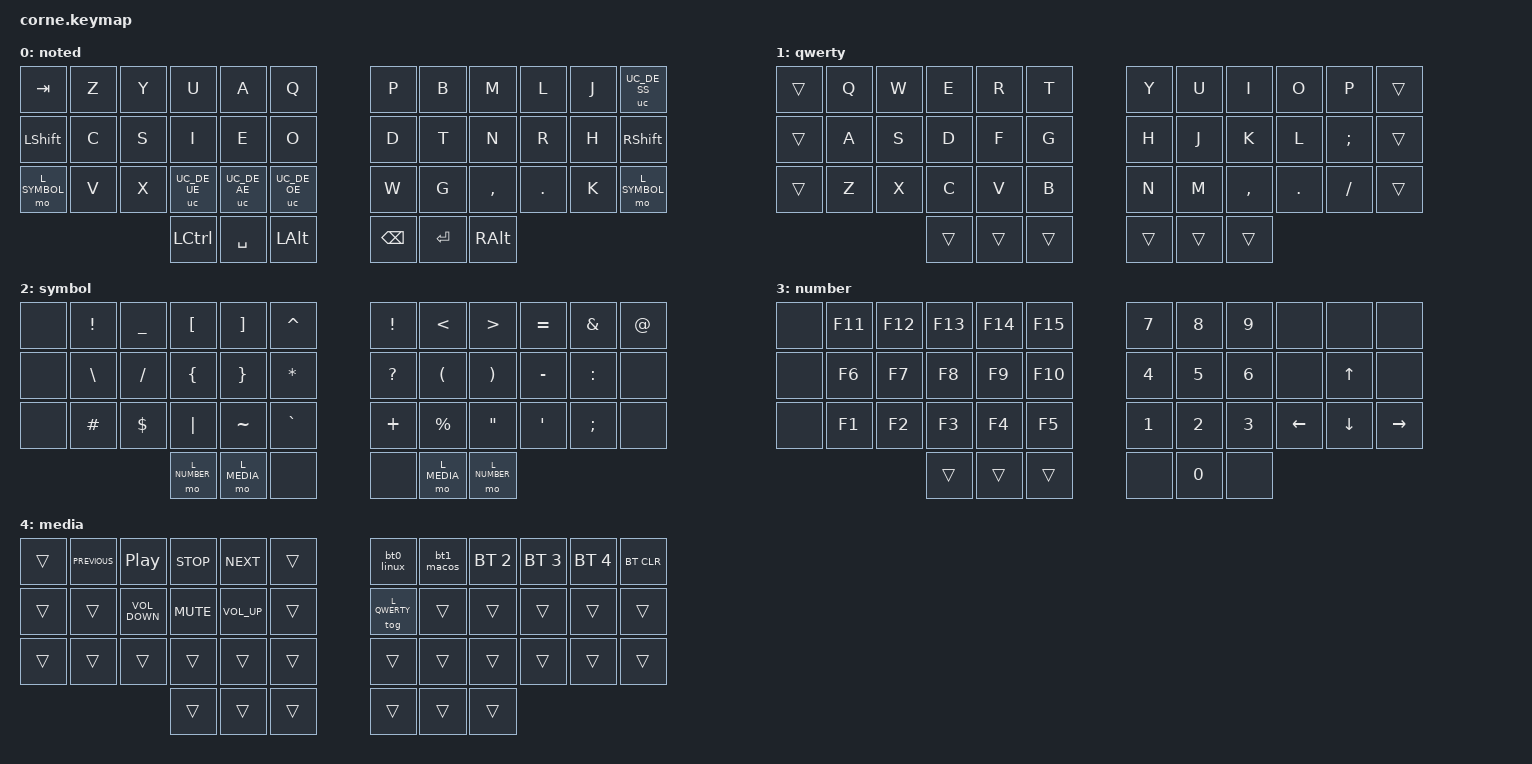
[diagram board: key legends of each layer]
/*
 * Copyright (c) 2020 The ZMK Contributors
 *
 * SPDX-License-Identifier: MIT
 */

#include <behaviors/unicode.dtsi>
#include <zmk-unicode/keys-extra.h>
#include <behaviors.dtsi>
#include <dt-bindings/zmk/bt.h>
#include <dt-bindings/zmk/keys.h>

#define L_NOTED  0
#define L_QWERTY 1
#define L_SYMBOL 2
#define L_NUMBER 3
#define L_MEDIA  4

/ {

    macros {
        bt0_linux: bt0_linux {
            compatible = "zmk,behavior-macro";
            label = "BT0_LINUX";
            #binding-cells = <0>;
            bindings = <
                &bt BT_SEL 0
                &uc UC_SET_LINUX
            >;
        };

        bt1_macos: bt1_macos {
            compatible = "zmk,behavior-macro";
            label = "BT1_MACOS";
            #binding-cells = <0>;
            bindings = <
                &bt BT_SEL 1
                &uc UC_SET_MACOS
            >;
        };
    };


    keymap {
        compatible = "zmk,keymap";
        noted {
            bindings = <
&kp TAB         &kp Z  &kp Y  &kp U         &kp A         &kp Q           &kp P          &kp B      &kp M      &kp L    &kp J  &uc UC_DE_SS
&kp LEFT_SHIFT  &kp C  &kp S  &kp I         &kp E         &kp O           &kp D          &kp T      &kp N      &kp R    &kp H  &kp RIGHT_SHIFT
&mo L_SYMBOL    &kp V  &kp X  &uc UC_DE_UE  &uc UC_DE_AE  &uc UC_DE_OE    &kp W          &kp G      &kp COMMA  &kp DOT  &kp K  &mo L_SYMBOL
                              &kp LCTRL     &kp SPACE     &kp LEFT_ALT    &kp BACKSPACE  &kp ENTER  &kp RALT
            >;
        };

        qwerty {
            bindings = <
&trans  &kp Q  &kp W  &kp E   &kp R   &kp T     &kp Y   &kp U   &kp I      &kp O    &kp P     &trans
&trans  &kp A  &kp S  &kp D   &kp F   &kp G     &kp H   &kp J   &kp K      &kp L    &kp SEMI  &trans
&trans  &kp Z  &kp X  &kp C   &kp V   &kp B     &kp N   &kp M   &kp COMMA  &kp DOT  &kp FSLH  &trans
                      &trans  &trans  &trans    &trans  &trans  &trans
            >;
        };

        symbol {
            bindings = <
&none  &kp EXCL       &kp UNDERSCORE  &kp LEFT_BRACKET  &kp RIGHT_BRACKET  &kp CARET    &kp EXCLAMATION  &kp LESS_THAN         &kp GREATER_THAN       &kp EQUAL         &kp AMPERSAND  &kp AT
&none  &kp BACKSLASH  &kp SLASH       &kp LEFT_BRACE    &kp RIGHT_BRACE    &kp STAR     &kp QUESTION     &kp LEFT_PARENTHESIS  &kp RIGHT_PARENTHESIS  &kp MINUS         &kp COLON      &none
&none  &kp HASH       &kp DOLLAR      &kp PIPE          &kp TILDE          &kp GRAVE    &kp PLUS         &kp PERCENT           &kp DOUBLE_QUOTES      &kp SINGLE_QUOTE  &kp SEMICOLON  &none
                                      &mo L_NUMBER      &mo L_MEDIA        &none        &none            &mo L_MEDIA           &mo L_NUMBER
            >;
        };

        number {
            bindings = <
&none  &kp F11  &kp F12  &kp F13  &kp F14  &kp F15    &kp NUMBER_7  &kp NUMBER_8  &kp NUMBER_9  &none     &none         &none
&none  &kp F6   &kp F7   &kp F8   &kp F9   &kp F10    &kp NUMBER_4  &kp NUMBER_5  &kp NUMBER_6  &none     &kp UP_ARROW  &none
&none  &kp F1   &kp F2   &kp F3   &kp F4   &kp F5     &kp NUMBER_1  &kp NUMBER_2  &kp NUMBER_3  &kp LEFT  &kp DOWN      &kp RIGHT
                         &trans   &trans   &trans     &none         &kp NUMBER_0  &none
            >;
        };

        media {
            bindings = <
&trans  &kp C_PREVIOUS  &kp C_PLAY_PAUSE   &kp C_STOP  &kp C_NEXT       &trans    &bt0_linux    &bt1_macos    &bt BT_SEL 2  &bt BT_SEL 3  &bt BT_SEL 4  &bt BT_CLR
&trans  &trans          &kp C_VOLUME_DOWN  &kp C_MUTE  &kp C_VOLUME_UP  &trans    &tog L_QWERTY &trans        &trans        &trans        &trans        &trans
&trans  &trans          &trans             &trans      &trans           &trans    &trans        &trans        &trans        &trans        &trans        &trans
                                           &trans      &trans           &trans    &trans        &trans        &trans
            >;
        };
    };
};
